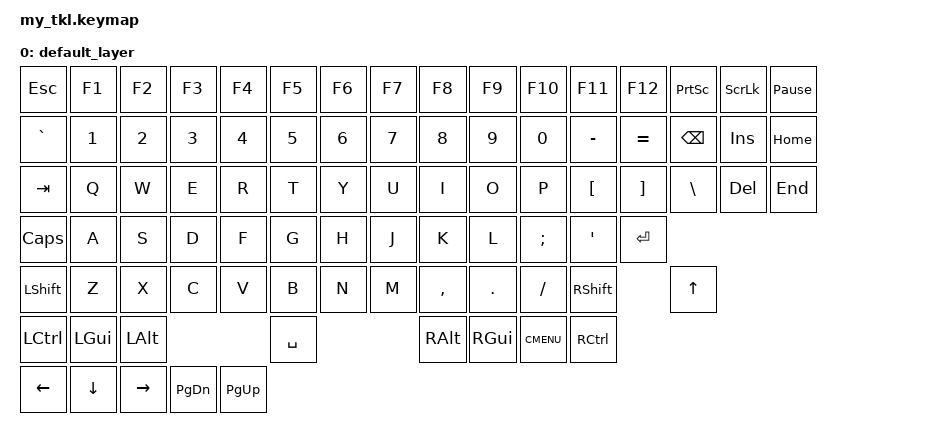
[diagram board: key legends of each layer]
#include <behaviors.dtsi>
#include <dt-bindings/zmk/keys.h>
#include <dt-bindings/zmk/bt.h>

#define MAC 0
#define MAC_CODE 1
#define MAC_NUMBER 2
#define MAC_FUNCTION 3
#define WINDOWS 4
#define WINDOWS_CODE 5
#define WINDOWS_NUMBER 6
#define WINDOWS_FUNCTION 7

    // Behavior Overrides
    &lt {
        tapping-term-ms = <200>;
        flavor = "hold-preferred";
    };

/ {
    //combos {
      //  compatible = "zmk,combos";
        
        //combo_tab {
        //  timeout-ms = <20>;
        //  key-positions = <1 2>;
        //  bindings = <&kp TAB>;
        //};

      //  combo_enter {
        //    timeout-ms = <20>;
          //  key-positions = <13 14>;
            //bindings = <&kp ENTER>;
        //};
    //};

    // macros {
    //     spotlight: spotlight {
    //         label = "spotlight";
    //         compatible = "zmk,behavior-macro";
    //         #binding-cells = <0>;
    //         bindings = <&macro_press &kp LGUI>, <&macro_tap &kp SPACE>, <&macro_release &kp LGUI>; 
    //     };

    //     // Emoji
    //     mac_emoji: mac_emoji {
    //         label = "mac_emoji";
    //         compatible = "zmk,behavior-macro";
    //         #binding-cells = <0>;
    //         bindings = <&macro_press &kp LGUI>, <&macro_press &kp LCTRL>, <&macro_tap &kp SPACE>, <&macro_release &kp LCTRL>, <&macro_release &kp LGUI>; 
    //     };

    //     win_emoji: win_emoji {
    //         label = "win_emoji";
    //         compatible = "zmk,behavior-macro";
    //         #binding-cells = <0>;
    //         bindings = <&macro_press &kp LGUI>, <&macro_tap &kp DOT>, <&macro_release &kp LGUI>; 
    //     };
    // };

    // behaviors {
    //     td_multi_mac: tap_dance_multi_mac {
    //         compatible = "zmk,behavior-tap-dance";
    //         label = "TAP_DANCE_MULTI_MAC";
    //         #binding-cells = <0>;
    //         tapping-term-ms = <200>;
    //         bindings = <&kp ESC>, <&spotlight>, <&mac_emoji>;
    //     };

    //     td_multi_windows: tap_dance_multi_windows {
    //         compatible = "zmk,behavior-tap-dance";
    //         label = "TAP_DANCE_MULTI_WINDOWS";
    //         #binding-cells = <0>;
    //         tapping-term-ms = <200>;
    //         bindings = <&kp ESC>, <&kp LGUI>, <&win_emoji>;
    //     };

    //     bm: bottom_row_mods {
    //         compatible = "zmk,behavior-hold-tap";
    //         label = "BOTTOM_ROW_MODS";
    //         #binding-cells = <2>;
    //         tapping-term-ms = <135>;
    //         quick-tap-ms = <0>;
    //         flavor = "tap-preferred";
    //         bindings = <&kp>, <&kp>;
    //     };

    //     cm: code_row_mods {
    //         compatible = "zmk,behavior-hold-tap";
    //         label = "CODE_ROW_MODS";
    //         #binding-cells = <2>;
    //         tapping-term-ms = <200>;
    //         quick-tap-ms = <0>;
    //         flavor = "tap-preferred";
    //         bindings = <&kp>, <&kp>;
    //         retro-tap;
    //     };

    //     sm: space_mod {
    //         compatible = "zmk,behavior-hold-tap";
    //         label = "SPACE_MOD";
    //         #binding-cells = <2>;
    //         flavor = "balanced";
    //         tapping-term-ms = <200>;
    //         quick-tap-ms = <125>;
    //         bindings = <&kp>, <&kp>;
    //     };
    // };
    
    keymap {
        compatible = "zmk,keymap";

        default_layer {
            bindings = <
                &kp ESC    &kp F1    &kp F2    &kp F3     &kp F4  &kp F5  &kp F6  &kp F7  &kp F8    &kp F9   &kp F10     &kp F11    &kp F12    &kp PSCRN  &kp SLCK  &kp PAUSE_BREAK
                &kp GRAVE  &kp N1    &kp N2    &kp N3     &kp N4  &kp N5  &kp N6  &kp N7  &kp N8    &kp N9   &kp N0      &kp MINUS  &kp EQUAL  &kp BSPC   &kp INS   &kp HOME
                &kp TAB    &kp Q     &kp W     &kp E      &kp R   &kp T   &kp Y   &kp U   &kp I     &kp O    &kp P       &kp LBKT   &kp RBKT   &kp BSLH   &kp DEL   &kp END
                &kp CAPS   &kp A     &kp S     &kp D      &kp F   &kp G   &kp H   &kp J   &kp K     &kp L    &kp SEMI    &kp SQT    &kp ENTER
                &kp LSHFT  &kp Z     &kp X     &kp C      &kp V   &kp B   &kp N   &kp M   &kp COMMA &kp DOT  &kp SLASH   &kp RSHFT             &kp UP
                &kp LCTRL  &kp LGUI  &kp LALT                     &kp SPACE               &kp RALT  &kp RGUI &kp K_CMENU &kp RCTRL
                &kp LEFT   &kp DOWN  &kp RIGHT &kp PG_DN  &kp PG_UP
            >;
        };

        // default_layer {
        //     bindings = <
        //         &kp ESC    &kp N1        &kp N2 &kp N3 &kp N4    &kp N5                                          &kp N6               &kp N7              &kp N8        &kp N9      &kp N0          &kp BACKSPACE
        //         &kp TAB    &kp Q         &kp W  &kp F  &kp P     &kp G                                           &kp J                &kp L               &kp U         &kp Y       &kp BACKSPACE   &kp BACKSLASH
        //         &kp CAPS   &kp A         &kp R  &kp S  &kp T     &kp D     &none          &none &none            &kp H                &kp N               &kp E         &kp I       &kp O           &kp ENTER
        //         &kp LSHIFT &bm LSHIFT Z  &kp X  &kp C  &kp V     &kp B     &none          &none &none            &kp K                &kp M               &kp COMMA     &kp PERIOD  &bm RSHIFT FSLH &kp RSHIFT
        //                                         &none  &kp LCTRL &kp LALT  &sm LGUI SPACE &none &lt MAC_CODE TAB &lt MAC_NUMBER ENTER &td_multi_mac &none
        //     >;
        // };

    };
};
